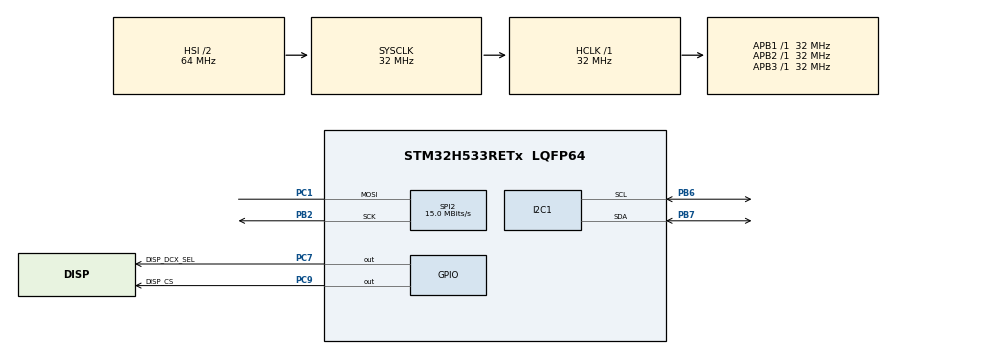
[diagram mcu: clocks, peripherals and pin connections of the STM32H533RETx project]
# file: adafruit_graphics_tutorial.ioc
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BOOTPATH.BootPathName=LEGACY
BOOTPATH.UserSelectedBootPath=LEGACY
CORTEX_M33_NS.Number-Cortex_Memory_Protection_Unit_Region0_OTP_RO_AREAS_Settings=MPU_REGION_NUMBER0
CORTEX_M33_NS.default_mode_Activation=1
CORTEX_M33_NS.userName=CORTEX_M33
GPDMA1.DESTINC_GPDMACH5=DMA_DINC_INCREMENTED
GPDMA1.DIRECTION_GPDMACH6=DMA_MEMORY_TO_PERIPH
GPDMA1.DIRECTION_GPDMACH7=DMA_MEMORY_TO_PERIPH
GPDMA1.IPHANDLE_GPDMACH5-SIMPLEREQUEST_GPDMACH5=__NULL
GPDMA1.IPHANDLE_GPDMACH6-SIMPLEREQUEST_GPDMACH6=__NULL
GPDMA1.IPHANDLE_GPDMACH7-SIMPLEREQUEST_GPDMACH7=__NULL
GPDMA1.PRIORITY_GPDMACH7=DMA_LOW_PRIORITY_HIGH_WEIGHT
GPDMA1.REQUEST_GPDMACH5=GPDMA1_REQUEST_I2C1_RX
GPDMA1.REQUEST_GPDMACH6=GPDMA1_REQUEST_I2C1_TX
GPDMA1.REQUEST_GPDMACH7=GPDMA1_REQUEST_SPI2_TX
GPDMA1.SRCINC_GPDMACH6=DMA_SINC_INCREMENTED
GPDMA1.SRCINC_GPDMACH7=DMA_SINC_INCREMENTED
I2C1.Timing=0x00707CBB
Mcu.Family=STM32H5
Mcu.Name=STM32H533RETx
Mcu.Package=LQFP64
NUCLEO-H533RE.BUTTON=1
NUCLEO-H533RE.LD4=true
NUCLEO-H533RE.VCP=true
NVIC.EXTI13_IRQn=true\:0\:0\:false\:false\:true\:false\:true\:true
NVIC.GPDMA1_Channel5_IRQn=true\:0\:0\:false\:false\:true\:false\:true\:true
NVIC.GPDMA1_Channel6_IRQn=true\:0\:0\:false\:false\:true\:false\:true\:true
NVIC.GPDMA1_Channel7_IRQn=true\:0\:0\:false\:false\:true\:false\:true\:true
NVIC.I2C1_ER_IRQn=true\:0\:0\:false\:false\:true\:true\:true\:true
NVIC.I2C1_EV_IRQn=true\:0\:0\:false\:false\:true\:true\:true\:true
NVIC.PriorityGroup=NVIC_PRIORITYGROUP_4
NVIC.SPI2_IRQn=true\:0\:0\:false\:false\:true\:true\:true\:true
PA13(JTMS/SWDIO).GPIO_Label=SWDIO
PA13(JTMS/SWDIO).Signal=DEBUG_JTMS-SWDIO
PA14(JTCK/SWCLK).GPIO_Label=SWCLK
PA14(JTCK/SWCLK).Signal=DEBUG_JTCK-SWCLK
PA15(JTDI).GPIO_Label=JTDI
PA15(JTDI).Signal=DEBUG_JTDI
PA2.Signal=USART2_TX
PA3.Signal=USART2_RX
PB2.GPIO_Speed=GPIO_SPEED_FREQ_VERY_HIGH
PB2.Mode=Simplex_Bidirectional_Master
PB2.Signal=SPI2_SCK
PB3(JTDO/TRACESWO).GPIO_Label=SWO
PB3(JTDO/TRACESWO).Signal=DEBUG_JTDO-SWO
PB6.GPIO_Pu=GPIO_PULLUP
PB6.GPIO_Speed=GPIO_SPEED_FREQ_VERY_HIGH
PB6.Mode=I2C
PB6.Signal=I2C1_SCL
PB7.GPIO_Pu=GPIO_PULLUP
PB7.GPIO_Speed=GPIO_SPEED_FREQ_VERY_HIGH
PB7.Mode=I2C
PB7.Signal=I2C1_SDA
PC1.GPIO_Speed=GPIO_SPEED_FREQ_VERY_HIGH
PC1.Mode=Simplex_Bidirectional_Master
PC1.Signal=SPI2_MOSI
PC7.GPIO_Label=DISP_DCX_SEL
PC7.GPIO_Speed=GPIO_SPEED_FREQ_VERY_HIGH
PC7.Signal=GPIO_Output
PC9.GPIO_Label=DISP_CS
PC9.GPIO_ModeDefaultOutputPP=GPIO_MODE_OUTPUT_PP
PC9.GPIO_PuPd=GPIO_PULLUP
PC9.GPIO_Speed=GPIO_SPEED_FREQ_VERY_HIGH
PC9.PinState=GPIO_PIN_SET
PC9.Signal=GPIO_Output
ProjectManager.HeapSize=0x200
ProjectManager.StackSize=0x400
ProjectManager.TargetToolchain=CMake
RCC.ADCFreq_Value=32000000
RCC.AHBFreq_Value=32000000
RCC.APB1Freq_Value=32000000
RCC.APB1TimFreq_Value=32000000
RCC.APB2Freq_Value=32000000
RCC.APB2TimFreq_Value=32000000
RCC.APB3Freq_Value=32000000
RCC.CSI_VALUE=4000000
RCC.CortexFreq_Value=32000000
RCC.EPOD_VALUE=4000000
RCC.HCLKFreq_Value=32000000
RCC.HSE_VALUE=25000000
RCC.HSI48_VALUE=48000000
RCC.HSI_VALUE=64000000
RCC.LSE_VALUE=32768
RCC.LSIRC_VALUE=32000
RCC.PLL1Q=6
RCC.PLLFRACN=0
RCC.PLLN=45
RCC.SYSCLKFreq_VALUE=32000000
RCC.USBFreq_Value=48000000
RCC.VCOOutputFreq_Value=180000000
SPI2.CalculateBaudRate=15.0 MBits/s
SPI2.DataSize=SPI_DATASIZE_8BIT
SPI2.Direction=SPI_DIRECTION_1LINE
SPI2.Mode=SPI_MODE_MASTER
SPI2.VirtualType=VM_MASTER
VP_BOOTPATH_VS_BOOTPATH.Mode=BP_Activate
VP_CORTEX_M33_NS_VS_Hclk.Mode=Hclk_Mode
VP_GPDMA1_VS_GPDMACH5.Mode=SIMPLEREQUEST_GPDMACH5
VP_GPDMA1_VS_GPDMACH6.Mode=SIMPLEREQUEST_GPDMACH6
VP_GPDMA1_VS_GPDMACH7.Mode=SIMPLEREQUEST_GPDMACH7
VP_ICACHE_VS_ICACHE.Mode=DefaultMode
VP_MEMORYMAP_VS_MEMORYMAP.Mode=CurAppReg
VP_NUCLEO-H533RE_VS_BSP_COMMON.Mode=COMMON
VP_PWR_VS_LPOM.Mode=PowerOptimisation
VP_PWR_VS_SECSignals.Mode=Security/Privilege
board=NUCLEO-H533RE

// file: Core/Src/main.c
/* USER CODE BEGIN Header */
/**
  ******************************************************************************
  * @file           : main.c
  * @brief          : Main program body
  ******************************************************************************
  * @attention
  *
  * Copyright (c) 2026 STMicroelectronics.
  * All rights reserved.
  *
  * This software is licensed under terms that can be found in the LICENSE file
  * in the root directory of this software component.
  * If no LICENSE file comes with this software, it is provided AS-IS.
  *
  ******************************************************************************
  */
/* USER CODE END Header */
#include "main.h"

/* USER CODE BEGIN Includes */

#include "Adafruit_ST77xx_Macros.h"
#include "Adafruit_TFTShield18_Macros.h"
#include "dwt_module.h"
#include "Adafruit_TFTShield18_API.h"
#include "Adafruit_ST7735_API.h"

#include "Fonts/FreeMono9pt7b.h"

/* USER CODE END Includes */

COM_InitTypeDef BspCOMInit;

I2C_HandleTypeDef hi2c1;
DMA_HandleTypeDef handle_GPDMA1_Channel6;
DMA_HandleTypeDef handle_GPDMA1_Channel5;

SPI_HandleTypeDef hspi2;
DMA_HandleTypeDef handle_GPDMA1_Channel7;

void SystemClock_Config(void);
static void MPU_Config(void);
static void MX_GPIO_Init(void);
static void MX_GPDMA1_Init(void);
static void MX_I2C1_Init(void);
static void MX_ICACHE_Init(void);
static void MX_SPI2_Init(void);

int main(void)
{

  /* MCU Configuration--------------------------------------------------------*/

  /* MPU Configuration--------------------------------------------------------*/
  MPU_Config();

  /* Reset of all peripherals, Initializes the Flash interface and the Systick. */
  HAL_Init();

  /* Configure the system clock */
  SystemClock_Config();

  /* Initialize all configured peripherals */
  MX_GPIO_Init();
  MX_GPDMA1_Init();
  MX_I2C1_Init();
  MX_ICACHE_Init();
  MX_SPI2_Init();

  /* Initialize leds */
  BSP_LED_Init(LED_GREEN);

  /* Initialize USER push-button, will be used to trigger an interrupt each time it's pressed.*/
  BSP_PB_Init(BUTTON_USER, BUTTON_MODE_EXTI);

  /* Initialize COM1 port (115200, 8 bits (7-bit data + 1 stop bit), no parity */
  BspCOMInit.BaudRate   = 115200;
  BspCOMInit.WordLength = COM_WORDLENGTH_8B;
  BspCOMInit.StopBits   = COM_STOPBITS_1;
  BspCOMInit.Parity     = COM_PARITY_NONE;
  BspCOMInit.HwFlowCtl  = COM_HWCONTROL_NONE;
  if (BSP_COM_Init(COM1, &BspCOMInit) != BSP_ERROR_NONE)
  {
    Error_Handler();
  }

  /* Infinite loop */
  /* USER CODE BEGIN WHILE */

  DWT_Init();

  if(!DWT_CheckInitialized()) printf("DWT failed to initialize!\n\r");

  TFTShield18_create(&hi2c1);
  if (!TFTShield18_begin())
  {
    printf("Failed to initialize TFT shield!\n\r");
    return 1;
  } else {
    printf("TFT shield initialized successfully!\n\r");
  }

  TFTShield18_tftReset(true);

  DWT_delayMs(100);

  Display_create(&hspi2, DISP_CS_Pin, DISP_CS_GPIO_Port, DISP_DCX_SEL_Pin, DISP_DCX_SEL_GPIO_Port);

  Display_init(INITR_BLACKTAB);

  DWT_delayMs(100);

  TFTShield18_setBacklight(TFTSHIELD_BACKLIGHT_ON);

  Display_setRotation(1);
  // Display_fillScreen(Display_color565(200, 150, 100));
  Display_fillScreen(ST77XX_CYAN);
  Display_setTextColor(ST77XX_BLACK);
  Display_setCursor(22, Display_height()/2 - 3);
  Display_setTextSize(1, 1);
  Display_println("Welcome to ECE 2049!");

  while (1)
  {

    /* USER CODE END WHILE */

  }
}

void SystemClock_Config(void)
{
  RCC_OscInitTypeDef RCC_OscInitStruct = {0};
  RCC_ClkInitTypeDef RCC_ClkInitStruct = {0};

  /** Configure the main internal regulator output voltage
  */
  __HAL_PWR_VOLTAGESCALING_CONFIG(PWR_REGULATOR_VOLTAGE_SCALE3);

  while(!__HAL_PWR_GET_FLAG(PWR_FLAG_VOSRDY)) {}

  /** Initializes the RCC Oscillators according to the specified parameters
  * in the RCC_OscInitTypeDef structure.
  */
  RCC_OscInitStruct.OscillatorType = RCC_OSCILLATORTYPE_HSI|RCC_OSCILLATORTYPE_CSI;
  RCC_OscInitStruct.HSIState = RCC_HSI_ON;
  RCC_OscInitStruct.HSIDiv = RCC_HSI_DIV2;
  RCC_OscInitStruct.HSICalibrationValue = RCC_HSICALIBRATION_DEFAULT;
  RCC_OscInitStruct.CSIState = RCC_CSI_ON;
  RCC_OscInitStruct.CSICalibrationValue = RCC_CSICALIBRATION_DEFAULT;
  RCC_OscInitStruct.PLL.PLLState = RCC_PLL_ON;
  RCC_OscInitStruct.PLL.PLLSource = RCC_PLL1_SOURCE_CSI;
  RCC_OscInitStruct.PLL.PLLM = 1;
  RCC_OscInitStruct.PLL.PLLN = 45;
  RCC_OscInitStruct.PLL.PLLP = 2;
  RCC_OscInitStruct.PLL.PLLQ = 6;
  RCC_OscInitStruct.PLL.PLLR = 2;
  RCC_OscInitStruct.PLL.PLLRGE = RCC_PLL1_VCIRANGE_2;
  RCC_OscInitStruct.PLL.PLLVCOSEL = RCC_PLL1_VCORANGE_WIDE;
  RCC_OscInitStruct.PLL.PLLFRACN = 0;
  if (HAL_RCC_OscConfig(&RCC_OscInitStruct) != HAL_OK)
  {
    Error_Handler();
  }

  /** Initializes the CPU, AHB and APB buses clocks
  */
  RCC_ClkInitStruct.ClockType = RCC_CLOCKTYPE_HCLK|RCC_CLOCKTYPE_SYSCLK
                              |RCC_CLOCKTYPE_PCLK1|RCC_CLOCKTYPE_PCLK2
                              |RCC_CLOCKTYPE_PCLK3;
  RCC_ClkInitStruct.SYSCLKSource = RCC_SYSCLKSOURCE_HSI;
  RCC_ClkInitStruct.AHBCLKDivider = RCC_SYSCLK_DIV1;
  RCC_ClkInitStruct.APB1CLKDivider = RCC_HCLK_DIV1;
  RCC_ClkInitStruct.APB2CLKDivider = RCC_HCLK_DIV1;
  RCC_ClkInitStruct.APB3CLKDivider = RCC_HCLK_DIV1;

  if (HAL_RCC_ClockConfig(&RCC_ClkInitStruct, FLASH_LATENCY_1) != HAL_OK)
  {
    Error_Handler();
  }

  /** Configure the programming delay
  */
  __HAL_FLASH_SET_PROGRAM_DELAY(FLASH_PROGRAMMING_DELAY_0);
}

static void MX_GPDMA1_Init(void)
{

  /* Peripheral clock enable */
  __HAL_RCC_GPDMA1_CLK_ENABLE();

  /* GPDMA1 interrupt Init */
    HAL_NVIC_SetPriority(GPDMA1_Channel5_IRQn, 0, 0);
    HAL_NVIC_EnableIRQ(GPDMA1_Channel5_IRQn);
    HAL_NVIC_SetPriority(GPDMA1_Channel6_IRQn, 0, 0);
    HAL_NVIC_EnableIRQ(GPDMA1_Channel6_IRQn);
    HAL_NVIC_SetPriority(GPDMA1_Channel7_IRQn, 0, 0);
    HAL_NVIC_EnableIRQ(GPDMA1_Channel7_IRQn);

}

static void MX_I2C1_Init(void)
{

  hi2c1.Instance = I2C1;
  hi2c1.Init.Timing = 0x00707CBB;
  hi2c1.Init.OwnAddress1 = 0;
  hi2c1.Init.AddressingMode = I2C_ADDRESSINGMODE_7BIT;
  hi2c1.Init.DualAddressMode = I2C_DUALADDRESS_DISABLE;
  hi2c1.Init.OwnAddress2 = 0;
  hi2c1.Init.OwnAddress2Masks = I2C_OA2_NOMASK;
  hi2c1.Init.GeneralCallMode = I2C_GENERALCALL_DISABLE;
  hi2c1.Init.NoStretchMode = I2C_NOSTRETCH_DISABLE;
  if (HAL_I2C_Init(&hi2c1) != HAL_OK)
  {
    Error_Handler();
  }

  /** Configure Analogue filter
  */
  if (HAL_I2CEx_ConfigAnalogFilter(&hi2c1, I2C_ANALOGFILTER_ENABLE) != HAL_OK)
  {
    Error_Handler();
  }

  /** Configure Digital filter
  */
  if (HAL_I2CEx_ConfigDigitalFilter(&hi2c1, 0) != HAL_OK)
  {
    Error_Handler();
  }

}

static void MX_ICACHE_Init(void)
{

  /** Enable instruction cache (default 2-ways set associative cache)
  */
  if (HAL_ICACHE_Enable() != HAL_OK)
  {
    Error_Handler();
  }

}

static void MX_SPI2_Init(void)
{

  /* SPI2 parameter configuration*/
  hspi2.Instance = SPI2;
  hspi2.Init.Mode = SPI_MODE_MASTER;
  hspi2.Init.Direction = SPI_DIRECTION_1LINE;
  hspi2.Init.DataSize = SPI_DATASIZE_8BIT;
  hspi2.Init.CLKPolarity = SPI_POLARITY_LOW;
  hspi2.Init.CLKPhase = SPI_PHASE_1EDGE;
  hspi2.Init.NSS = SPI_NSS_SOFT;
  hspi2.Init.BaudRatePrescaler = SPI_BAUDRATEPRESCALER_2;
  hspi2.Init.FirstBit = SPI_FIRSTBIT_MSB;
  hspi2.Init.TIMode = SPI_TIMODE_DISABLE;
  hspi2.Init.CRCCalculation = SPI_CRCCALCULATION_DISABLE;
  hspi2.Init.CRCPolynomial = 0x7;
  hspi2.Init.NSSPMode = SPI_NSS_PULSE_ENABLE;
  hspi2.Init.NSSPolarity = SPI_NSS_POLARITY_LOW;
  hspi2.Init.FifoThreshold = SPI_FIFO_THRESHOLD_01DATA;
  hspi2.Init.MasterSSIdleness = SPI_MASTER_SS_IDLENESS_00CYCLE;
  hspi2.Init.MasterInterDataIdleness = SPI_MASTER_INTERDATA_IDLENESS_00CYCLE;
  hspi2.Init.MasterReceiverAutoSusp = SPI_MASTER_RX_AUTOSUSP_DISABLE;
  hspi2.Init.MasterKeepIOState = SPI_MASTER_KEEP_IO_STATE_DISABLE;
  hspi2.Init.IOSwap = SPI_IO_SWAP_DISABLE;
  hspi2.Init.ReadyMasterManagement = SPI_RDY_MASTER_MANAGEMENT_INTERNALLY;
  hspi2.Init.ReadyPolarity = SPI_RDY_POLARITY_HIGH;
  if (HAL_SPI_Init(&hspi2) != HAL_OK)
  {
    Error_Handler();
  }

}

static void MX_GPIO_Init(void)
{
  GPIO_InitTypeDef GPIO_InitStruct = {0};

  /* GPIO Ports Clock Enable */
  __HAL_RCC_GPIOC_CLK_ENABLE();
  __HAL_RCC_GPIOB_CLK_ENABLE();
  __HAL_RCC_GPIOA_CLK_ENABLE();

  /*Configure GPIO pin Output Level */
  HAL_GPIO_WritePin(DISP_DCX_SEL_GPIO_Port, DISP_DCX_SEL_Pin, GPIO_PIN_RESET);

  /*Configure GPIO pin Output Level */
  HAL_GPIO_WritePin(DISP_CS_GPIO_Port, DISP_CS_Pin, GPIO_PIN_SET);

  /*Configure GPIO pin : DISP_DCX_SEL_Pin */
  GPIO_InitStruct.Pin = DISP_DCX_SEL_Pin;
  GPIO_InitStruct.Mode = GPIO_MODE_OUTPUT_PP;
  GPIO_InitStruct.Pull = GPIO_NOPULL;
  GPIO_InitStruct.Speed = GPIO_SPEED_FREQ_VERY_HIGH;
  HAL_GPIO_Init(DISP_DCX_SEL_GPIO_Port, &GPIO_InitStruct);

  /*Configure GPIO pin : DISP_CS_Pin */
  GPIO_InitStruct.Pin = DISP_CS_Pin;
  GPIO_InitStruct.Mode = GPIO_MODE_OUTPUT_PP;
  GPIO_InitStruct.Pull = GPIO_PULLUP;
  GPIO_InitStruct.Speed = GPIO_SPEED_FREQ_VERY_HIGH;
  HAL_GPIO_Init(DISP_CS_GPIO_Port, &GPIO_InitStruct);

}

 /* MPU Configuration */

void MPU_Config(void)
{
  MPU_Region_InitTypeDef MPU_InitStruct = {0};
  MPU_Attributes_InitTypeDef MPU_AttributesInit = {0};

  /* Disables the MPU */
  HAL_MPU_Disable();

  /** Initializes and configures the Region 0 and the memory to be protected
  */
  MPU_InitStruct.Enable = MPU_REGION_ENABLE;
  MPU_InitStruct.Number = MPU_REGION_NUMBER0;
  MPU_InitStruct.BaseAddress = 0x08FFF000;
  MPU_InitStruct.LimitAddress = 0x08FFFFFF;
  MPU_InitStruct.AttributesIndex = MPU_ATTRIBUTES_NUMBER0;
  MPU_InitStruct.AccessPermission = MPU_REGION_ALL_RO;
  MPU_InitStruct.DisableExec = MPU_INSTRUCTION_ACCESS_DISABLE;
  MPU_InitStruct.IsShareable = MPU_ACCESS_NOT_SHAREABLE;

  HAL_MPU_ConfigRegion(&MPU_InitStruct);

  /** Initializes and configures the Attribute 0 and the memory to be protected
  */
  MPU_AttributesInit.Number = MPU_ATTRIBUTES_NUMBER0;
  MPU_AttributesInit.Attributes = INNER_OUTER(MPU_NOT_CACHEABLE);

  HAL_MPU_ConfigMemoryAttributes(&MPU_AttributesInit);
  /* Enables the MPU */
  HAL_MPU_Enable(MPU_PRIVILEGED_DEFAULT);

}

void Error_Handler(void)
{
  __disable_irq();
  while (1)
  {
  }
}
